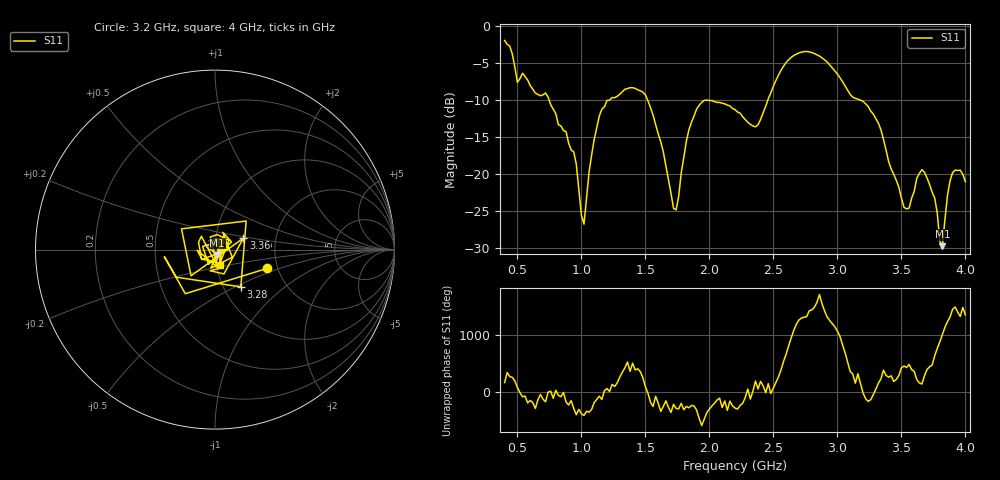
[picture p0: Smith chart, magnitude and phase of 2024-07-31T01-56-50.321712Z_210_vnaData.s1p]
!Created with skrf (http://scikit-rf.org).
# Hz S RI R 50.0
!freq ReS11 ImS11
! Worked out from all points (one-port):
!   181 points, 400 MHz to 4 GHz, reference 50 ohm
!   lowest |S11| = -29.8 dB at 3.82 GHz (marker M1), VSWR 1.07, Z = 51.1 - j3.07 ohm
!   |S11| at or under -10 dB: 746.4 MHz to 1.224 GHz (477.9 MHz wide, 48.5 % of centre); 1.516 GHz to 2.458 GHz (941.9 MHz wide, 47.4 % of centre); 3.168 GHz to end of sweep
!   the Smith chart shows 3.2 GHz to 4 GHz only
!   S11 on the Smith chart (normalised r, x): 3.2 GHz: 1.76, -0.41; 3.28 GHz: 1.21, -0.53; 3.36 GHz: 1.36, +0.18; 4 GHz: 1.04, -0.18
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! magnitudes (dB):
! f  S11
! 400 MHz  -2.0
! 500 MHz  -7.7
! 720 MHz  -9.1
! 860 MHz  -14.2
! 940 MHz  -17.0
! 1.02 GHz  -26.8
! 1.06 GHz  -19.8
! 1.14 GHz  -12.2
! 1.3 GHz  -9.3
! 1.5 GHz  -9.4
! 1.72 GHz  -24.7
! 1.76 GHz  -23.1
! 1.82 GHz  -15.6
! 1.9 GHz  -11.3
! 2.2 GHz  -11.3
! 2.38 GHz  -13.4
! 2.66 GHz  -4.0
! 2.88 GHz  -4.4
! 3.1 GHz  -9.3
! 3.2 GHz  -10.2
! 3.28 GHz  -12.0
! 3.36 GHz  -15.4
! 3.56 GHz  -24.7
! 3.68 GHz  -19.8
! 3.76 GHz  -23.3
! 3.82 GHz  -29.8
! 3.9 GHz  -19.9
! 4 GHz  -21.1
